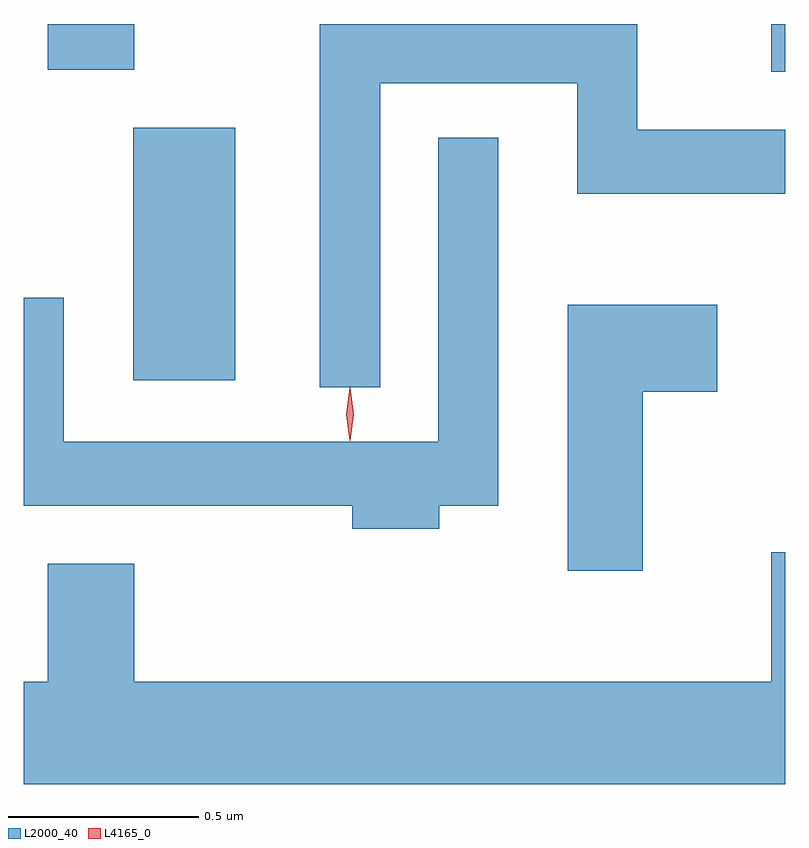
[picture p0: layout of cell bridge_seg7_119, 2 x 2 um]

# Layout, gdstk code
import gdstk
lib = gdstk.Library(unit=1e-6, precision=1e-09)
def R(c, l, rs):  # rectangles x0, y0, x1, y1
    for r in rs: c.add(gdstk.rectangle(r[:2], r[2:], *l))
def P(c, l, *ps):  # polygons
    for p in ps: c.add(gdstk.Polygon(p, *l))
L2000_40 = (2000, 40)
L4165_0 = (4165, 0)

bridge_seg7_119 = lib.new_cell('bridge_seg7_119')
R(bridge_seg7_119, L2000_40, [(1491.026,1788.636,1491.294,1789.299), (1492.701,1789.446,1492.738,1789.571), (1490.801,1789.451,1491.029,1789.571)])
P(bridge_seg7_119, L2000_40, [(1491.674,1789.416),(1492.191,1789.416),(1492.191,1789.126),(1492.738,1789.126),(1492.738,1789.294),(1492.349,1789.294),(1492.349,1789.571),(1491.516,1789.571),(1491.516,1788.618),(1491.674,1788.618)],
  [(1491.829,1788.306),(1491.984,1788.306),(1491.984,1789.273),(1491.826,1789.273),(1491.826,1788.474),(1490.844,1788.474),(1490.844,1788.853),(1490.738,1788.853),(1490.738,1788.306),(1491.601,1788.306),(1491.601,1788.246),(1491.829,1788.246)],
  [(1492.364,1788.606),(1492.559,1788.606),(1492.559,1788.834),(1492.166,1788.834),(1492.166,1788.136),(1492.364,1788.136)],
  [(1492.738,1788.184),(1492.701,1788.184),(1492.701,1787.844),(1491.029,1787.844),(1491.029,1788.154),(1490.801,1788.154),(1490.801,1787.844),(1490.738,1787.844),(1490.738,1787.576),(1492.738,1787.576)])
P(bridge_seg7_119, L4165_0, [(1491.594,1788.477),(1491.585,1788.546),(1491.594,1788.616),(1491.595,1788.616),(1491.596,1788.616),(1491.605,1788.546),(1491.596,1788.477),(1491.595,1788.477)],
  [(1491.595,1788.479),(1491.595,1788.48),(1491.585,1788.546),(1491.595,1788.612),(1491.595,1788.613),(1491.596,1788.612),(1491.605,1788.546),(1491.596,1788.48)])

lib.write_gds('bridge_seg7_119.gds')
